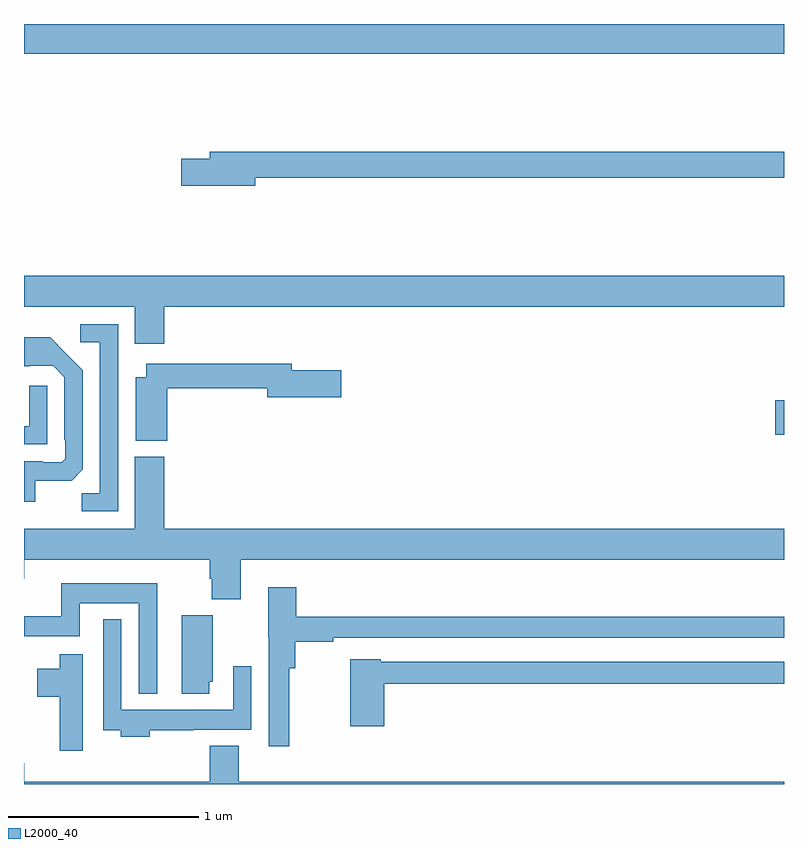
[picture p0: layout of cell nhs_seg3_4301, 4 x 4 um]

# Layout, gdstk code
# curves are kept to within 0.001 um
import gdstk
lib = gdstk.Library(unit=1e-6, precision=1e-09)
def R(c, l, rs):  # rectangles x0, y0, x1, y1
    for r in rs: c.add(gdstk.rectangle(r[:2], r[2:], *l))
def P(c, l, *ps):  # polygons
    for p in ps: c.add(gdstk.Polygon(p, *l))
L2000_40 = (2000, 40)

nhs_seg3_4301 = lib.new_cell('nhs_seg3_4301')
R(nhs_seg3_4301, L2000_40, [(342.954,704.237,343,704.42), (339,706.244,343,706.4)])
P(nhs_seg3_4301, L2000_40, [(340.216,705.592),(343,705.592),(343,705.728),(339.977,705.728),(339.977,705.692),(339.828,705.692),(339.828,705.55),(340.216,705.55)],
  [(339.737,704.912),(343,704.912),(343,705.076),(339,705.076),(339,704.912),(339.584,704.912),(339.584,704.718),(339.737,704.718)],
  [(339.495,704.82),(339.297,704.82),(339.297,704.724),(339.399,704.724),(339.399,703.931),(339.304,703.931),(339.304,703.836),(339.495,703.836)],
  [(339.058,703.997),(339.25,703.997),(339.309,704.056),(339.309,704.578),(339.137,704.752),(339,704.752),(339,704.6),(339.153,704.601),(339.213,704.541),(339.213,704.212),(339.216,704.212),(339.216,704.112),(339.198,704.094),(339.098,704.094),(339.098,704.098),(339,704.098),(339,703.886),(339.058,703.886)],
  [(339.754,704.482),(340.28,704.482),(340.28,704.435),(340.669,704.435),(340.669,704.577),(340.408,704.577),(340.408,704.611),(339.644,704.611),(339.644,704.542),(339.587,704.542),(339.587,704.207),(339.754,704.207)],
  [(339.123,704.497),(339.027,704.497),(339.027,704.283),(339,704.283),(339,704.187),(339.123,704.187)],
  [(340.142,703.58),(343,703.58),(343,703.744),(339.737,703.744),(339.737,704.122),(339.584,704.122),(339.584,703.744),(339,703.744),(339,703.479),(339.002,703.479),(339.002,703.58),(339.977,703.58),(339.977,703.481),(339.989,703.481),(339.989,703.372),(340.142,703.372)],
  [(339.7,703.456),(339.197,703.456),(339.197,703.282),(339,703.282),(339,703.178),(339.294,703.178),(339.294,703.352),(339.603,703.352),(339.603,702.875),(339.7,702.875)],
  [(340.396,703.01),(340.428,703.01),(340.428,703.15),(340.628,703.15),(340.628,703.17),(343,703.17),(343,703.279),(340.433,703.279),(340.433,703.435),(340.286,703.435),(340.286,703.173),(340.287,703.173),(340.287,702.6),(340.396,702.6)],
  [(339.976,702.939),(339.994,702.939),(339.994,703.287),(339.83,703.287),(339.83,702.876),(339.976,702.876)],
  [(339.662,702.684),(339.893,702.684),(339.893,702.686),(340.197,702.686),(340.197,703.021),(340.101,703.021),(340.101,702.79),(339.513,702.79),(339.513,703.267),(339.417,703.267),(339.417,702.684),(339.509,702.684),(339.509,702.65),(339.662,702.65)],
  [(339.31,703.084),(339.188,703.084),(339.188,703.006),(339.071,703.006),(339.071,702.859),(339.188,702.859),(339.188,702.576),(339.31,702.576)],
  [(340.895,702.928),(343,702.928),(343,703.044),(340.878,703.044),(340.878,703.057),(340.717,703.057),(340.717,702.705),(340.895,702.705)],
  [(343,702.412),(340.129,702.412),(340.129,702.601),(339.977,702.601),(339.977,702.412),(339.002,702.412),(339.002,702.51),(339,702.51),(339,702.4),(343,702.4)])

lib.write_gds('nhs_seg3_4301.gds')
